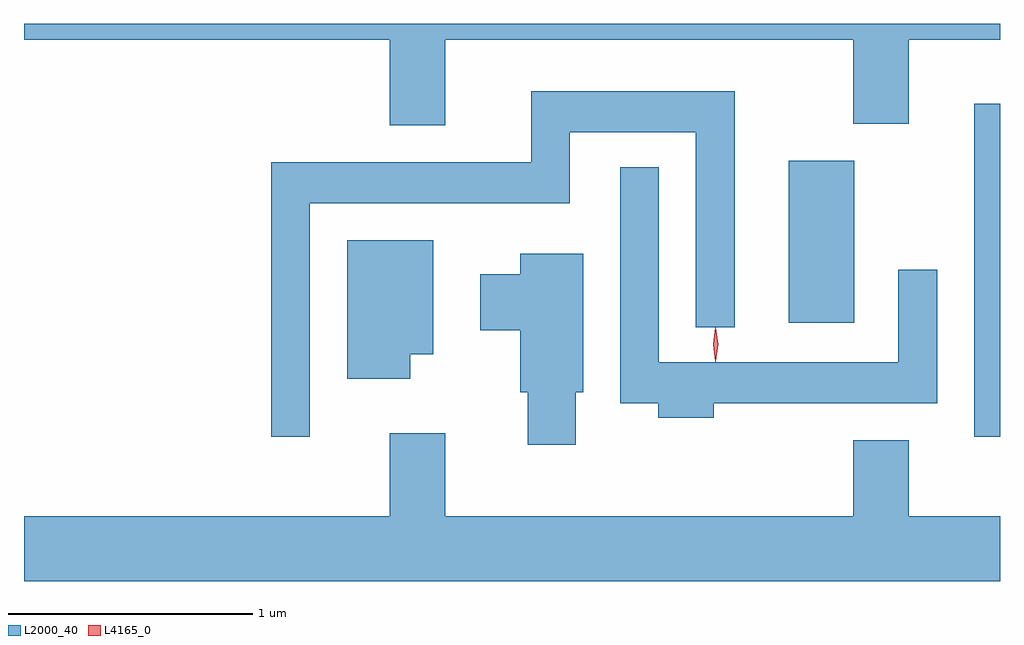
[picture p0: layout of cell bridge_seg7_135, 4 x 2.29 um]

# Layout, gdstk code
import gdstk
lib = gdstk.Library(unit=1e-6, precision=1e-09)
def R(c, l, rs):  # rectangles x0, y0, x1, y1
    for r in rs: c.add(gdstk.rectangle(r[:2], r[2:], *l))
def P(c, l, *ps):  # polygons
    for p in ps: c.add(gdstk.Polygon(p, *l))
L2000_40 = (2000, 40)
L4165_0 = (4165, 0)

bridge_seg7_135 = lib.new_cell('bridge_seg7_135')
R(bridge_seg7_135, L2000_40, [(1466.246,1765.968,1466.352,1767.334), (1465.486,1766.436,1465.754,1767.099)])
P(bridge_seg7_135, L2000_40, [(1464.079,1767.596),(1465.751,1767.596),(1465.751,1767.251),(1465.979,1767.251),(1465.979,1767.596),(1466.352,1767.596),(1466.352,1767.662),(1462.352,1767.662),(1462.352,1767.596),(1463.851,1767.596),(1463.851,1767.246),(1464.079,1767.246)],
  [(1463.524,1766.926),(1464.589,1766.926),(1464.589,1767.216),(1465.106,1767.216),(1465.106,1766.418),(1465.264,1766.418),(1465.264,1767.384),(1464.431,1767.384),(1464.431,1767.094),(1463.366,1767.094),(1463.366,1765.968),(1463.524,1765.968)],
  [(1465.179,1766.106),(1466.094,1766.106),(1466.094,1766.653),(1465.936,1766.653),(1465.936,1766.274),(1464.954,1766.274),(1464.954,1767.073),(1464.796,1767.073),(1464.796,1766.106),(1464.951,1766.106),(1464.951,1766.046),(1465.179,1766.046)],
  [(1463.934,1766.306),(1464.029,1766.306),(1464.029,1766.774),(1463.676,1766.774),(1463.676,1766.206),(1463.934,1766.206)],
  [(1464.614,1766.151),(1464.644,1766.151),(1464.644,1766.719),(1464.386,1766.719),(1464.386,1766.634),(1464.221,1766.634),(1464.221,1766.406),(1464.386,1766.406),(1464.386,1766.151),(1464.416,1766.151),(1464.416,1765.936),(1464.614,1765.936)],
  [(1466.352,1765.644),(1465.979,1765.644),(1465.979,1765.954),(1465.751,1765.954),(1465.751,1765.644),(1464.079,1765.644),(1464.079,1765.984),(1463.851,1765.984),(1463.851,1765.644),(1462.352,1765.644),(1462.352,1765.376),(1466.352,1765.376)])
P(bridge_seg7_135, L4165_0, [(1465.187,1766.277),(1465.186,1766.278),(1465.177,1766.347),(1465.186,1766.416),(1465.187,1766.416),(1465.187,1766.416),(1465.197,1766.347),(1465.187,1766.278)])

lib.write_gds('bridge_seg7_135.gds')
